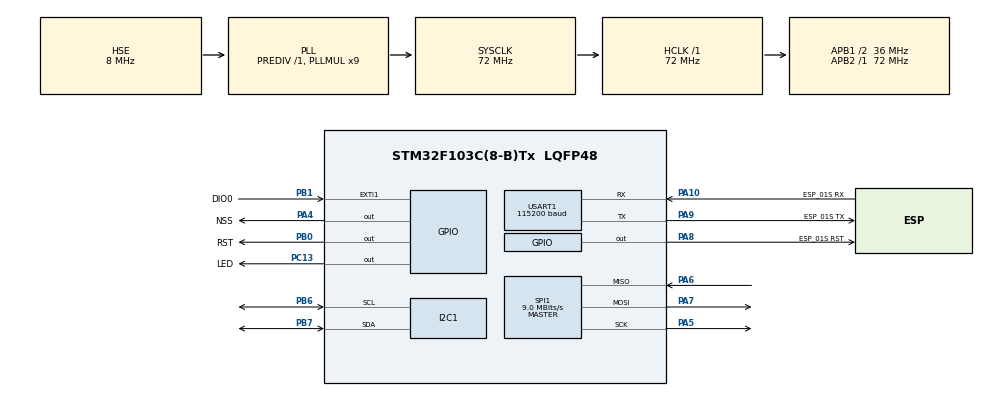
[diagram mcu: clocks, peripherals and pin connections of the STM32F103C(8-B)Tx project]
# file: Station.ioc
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Mcu.Family=STM32F1
Mcu.Name=STM32F103C(8-B)Tx
Mcu.Package=LQFP48
NVIC.EXTI1_IRQn=true\:0\:0\:false\:false\:true\:true\:true\:true
NVIC.PriorityGroup=NVIC_PRIORITYGROUP_4
PA10.GPIO_Label=ESP_01S RX
PA10.Mode=Asynchronous
PA10.Signal=USART1_RX
PA11.GPIO_Label=RTC_ALARM
PA11.Signal=USART1_CTS
PA13.Mode=Serial_Wire
PA13.Signal=SYS_JTMS-SWDIO
PA14.Mode=Serial_Wire
PA14.Signal=SYS_JTCK-SWCLK
PA4.GPIO_Label=NSS
PA4.PinState=GPIO_PIN_SET
PA4.Signal=GPIO_Output
PA5.Mode=Full_Duplex_Master
PA5.Signal=SPI1_SCK
PA6.Mode=Full_Duplex_Master
PA6.Signal=SPI1_MISO
PA7.Mode=Full_Duplex_Master
PA7.Signal=SPI1_MOSI
PA8.GPIO_Label=ESP_01S RST
PA8.PinState=GPIO_PIN_SET
PA8.Signal=GPIO_Output
PA9.GPIO_Label=ESP_01S TX
PA9.Mode=Asynchronous
PA9.Signal=USART1_TX
PB0.GPIO_Label=RST
PB0.PinState=GPIO_PIN_SET
PB0.Signal=GPIO_Output
PB1.GPIO_Label=DIO0
PB1.Signal=GPXTI1
PB6.Mode=I2C
PB6.Signal=I2C1_SCL
PB7.Mode=I2C
PB7.Signal=I2C1_SDA
PC13-TAMPER-RTC.GPIO_Label=LED
PC13-TAMPER-RTC.Signal=GPIO_Output
PD0-OSC_IN.Mode=HSE-External-Oscillator
PD0-OSC_IN.Signal=RCC_OSC_IN
PD1-OSC_OUT.Mode=HSE-External-Oscillator
PD1-OSC_OUT.Signal=RCC_OSC_OUT
ProjectManager.HeapSize=0x200
ProjectManager.StackSize=0x400
ProjectManager.TargetToolchain=STM32CubeIDE
RCC.AHBFreq_Value=72000000
RCC.APB1CLKDivider=RCC_HCLK_DIV2
RCC.APB1Freq_Value=36000000
RCC.APB1TimFreq_Value=72000000
RCC.APB2Freq_Value=72000000
RCC.APB2TimFreq_Value=72000000
RCC.HCLKFreq_Value=72000000
RCC.PLLMUL=RCC_PLL_MUL9
RCC.PLLSourceVirtual=RCC_PLLSOURCE_HSE
RCC.SYSCLKFreq_VALUE=72000000
RCC.SYSCLKSource=RCC_SYSCLKSOURCE_PLLCLK
RCC.USBFreq_Value=72000000
SPI1.BaudRatePrescaler=SPI_BAUDRATEPRESCALER_8
SPI1.CalculateBaudRate=9.0 MBits/s
SPI1.Direction=SPI_DIRECTION_2LINES
SPI1.Mode=SPI_MODE_MASTER
SPI1.VirtualType=VM_MASTER
USART1.BaudRate=115200
USART1.VirtualMode=VM_ASYNC
board=custom

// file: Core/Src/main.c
/* USER CODE BEGIN Header */
/**
  ******************************************************************************
  * @file           : main.c
  * @brief          : Main station of weather station setup
  ******************************************************************************
  * @attention
  *
  * Copyright (c) 2024 STMicroelectronics.
  * All rights reserved.
  *
  * This software is licensed under terms that can be found in the LICENSE file
  * in the root directory of this software component.
  * If no LICENSE file comes with this software, it is provided AS-IS.
  *
  ******************************************************************************
  */
/* USER CODE END Header */
#include "main.h"
#include "i2c.h"
#include "spi.h"
#include "usart.h"
#include "gpio.h"

/* USER CODE BEGIN Includes */
#include <stdio.h>
#include <stdlib.h>
#include <string.h>
#include "SX1278.h"
#include "esp01s.h"
#include "readings.h"

#include "BMP280_sak.h"
#include "AHT20.h"

/* USER CODE END Includes */

/* USER CODE BEGIN PV */

/*
 * ===== Flags =====
 */

// If flag is set run code involving LoRa
#define LORA
// If flag is set run code involving ESP
#define ESP

/*
 * ===== Sensors variables =====
 */

// float values read from sensors
float temperature = 0;
float humidity = 0;
float pressure = 0;

// Reading converted to int before sending
int sensor_id = -1;
int temperature_int = 0;
int humidity_int = 0;
int pressure_int = 0;

// Reading
Readings readings;

/*
 * 	===== LoRa variables =====
 */
SX1278_hw_t SX1278_hw;
SX1278_t SX1278;
int receiver;
int ret;

char LoRaTxBuffer[512];
char LoRaRxBuffer[512];

int tx_len;

int control_val=0;

/*
 *	====== ESP variables =======
 */
Esp01s Esp;
HAL_StatusTypeDef status;
/*
 * ====== Timeout variables =======
 	 	 1000 == 1 sec

	Sensor_1 - Main station
	Sensor_2 - First Sensor
	Sensor_3 - Second Sensor

	get_check = How often station checks from changes in delays from browser

*/
uint32_t current_time;				// current tick

uint32_t get_timeout = 60 * 1000;
uint32_t get_wake_up = 60 * 1000;

uint32_t sensor_1_timeout = 20 * 1000;
//uint32_t sensor_2_timeout = 20 * 1000;
uint32_t sensor_2_timeout = 10 * 1000;
uint32_t sensor_3_timeout = 20 * 1000;

uint32_t sensor_1_wakeup = 20 * 1000;
//uint32_t sensor_2_wakeup = 20 * 1000;
uint32_t sensor_2_wakeup = 10 * 1000;
uint32_t sensor_3_wakeup = 20 * 1000;

uint32_t inside_counter;

int reverse_time = 3;
int test_val = 0;
/* USER CODE END PV */

void SystemClock_Config(void);

/* USER CODE BEGIN 0 */

/*  ----------------------------------
 * 		LoRa Functions
 *  ----------------------------------
 */
void clearTx(){
	memset(LoRaTxBuffer,0,sizeof(LoRaTxBuffer));
}

void clearRx(){
	memset(LoRaRxBuffer,0,sizeof(LoRaRxBuffer));
}
// Puts LoRa module in receive mode
// -- LED should be off --
void LoRaSetRxMode(){
	clearRx();
	SX1278_LoRaEntryRx(&SX1278, 16, 2000);
	HAL_GPIO_WritePin(LED_GPIO_Port, LED_Pin, GPIO_PIN_RESET);
	receiver = 1;
	HAL_Delay(500);
}

// Puts LoRa module in transmit mode
// -- LED should be on --
void LoRaSetTxMode(){
	clearTx();
	SX1278_LoRaEntryTx(&SX1278, 16, 2000);
	HAL_GPIO_WritePin(LED_GPIO_Port, LED_Pin, GPIO_PIN_SET);
	receiver = 0;
	HAL_Delay(500);
}

void retrieve_onboard_sensor_data(){
	AHT20_Read(&temperature, &humidity);
	pressure = BMP280_ReadPressure(&hi2c1);

	sensor_id = 1;
	temperature_int = (int)temperature;
	humidity_int = (int)humidity;
	pressure_int = (int)pressure;

	#ifdef ESP
	  send_single_sensor_post_req(&Esp, temperature_int, humidity_int, pressure_int, sensor_id);
	#endif
	addData(&readings, sensor_id, temperature_int, humidity_int, pressure_int);
}

void retrieve_sensor_data(int sensorID){
	// Send info to sensor
	tx_len = sprintf(LoRaTxBuffer, "%d,%d",sensorID, reverse_time);
	ret = SX1278_LoRaEntryTx(&SX1278, tx_len, 2000);
	ret = SX1278_LoRaTxPacket(&SX1278, (uint8_t*) LoRaTxBuffer,
							tx_len, 2000);
	// Set RX mode, Read sensor data
	HAL_Delay(500);
	LoRaSetRxMode();

	// Calculate how long keep listening for anwser
	current_time = HAL_GetTick();
	inside_counter = current_time+(reverse_time*1000);

	// Listen for response
	while(HAL_GetTick()<=inside_counter){
		ret = SX1278_LoRaRxPacket(&SX1278);		// return gives length of received data
		if(ret > 0){
			SX1278_read(&SX1278, (uint8_t*) LoRaRxBuffer, ret); // read data send

			int s_id;
			sscanf(LoRaRxBuffer, "%d,%d,%d,%d", &s_id, &temperature_int, &humidity_int, &pressure_int);

			if(s_id == sensorID){
				sensor_id = s_id;
				addData(&readings, sensorID, temperature_int, humidity_int, pressure_int);
				#ifdef ESP
					send_single_sensor_post_req(&Esp, temperature_int, humidity_int, pressure_int, sensorID);
				#endif
			}
		}
		break;
	}
	LoRaSetTxMode();

}

/*  ----------------------------------
 * 		Esp Functions
 *  ----------------------------------
 */
void Esp_send_get(){
	send_get_req(&Esp);
	sensor_1_timeout = Esp.timers[0];
	sensor_2_timeout = Esp.timers[1];
	sensor_3_timeout = Esp.timers[2];
}

//while (GPIO_PIN_RESET == HAL_GPIO_ReadPin(LED_GPIO_Port, LED_Pin));
/* USER CODE END 0 */

int main(void)
{

  /* MCU Configuration--------------------------------------------------------*/

  /* Reset of all peripherals, Initializes the Flash interface and the Systick. */
  HAL_Init();

  /* Configure the system clock */
  SystemClock_Config();

  /* Initialize all configured peripherals */
  MX_GPIO_Init();
  MX_SPI1_Init();
  MX_USART1_UART_Init();
  MX_I2C1_Init();
  /* USER CODE BEGIN 2 */
  /*	=====================
   * 		  	LoRa Init
   * 	=====================
   */
  #ifdef LORA
	  receiver = 1;

      SX1278_hw.dio0.port = DIO0_GPIO_Port;
	  SX1278_hw.dio0.pin = DIO0_Pin;
	  SX1278_hw.nss.port = NSS_GPIO_Port;
	  SX1278_hw.nss.pin = NSS_Pin;
	  SX1278_hw.reset.port = RST_GPIO_Port;
	  SX1278_hw.reset.pin = RST_Pin;
	  SX1278_hw.spi = &hspi1;

	  SX1278.hw = &SX1278_hw;

	  SX1278_init(&SX1278, 434000000, SX1278_POWER_17DBM, SX1278_LORA_SF_7,
			  SX1278_LORA_BW_125KHZ, SX1278_LORA_CR_4_5, SX1278_LORA_CRC_EN, 10);

	  LoRaSetTxMode();						// Set mode to TX

  #endif
  /*	=====================
	 * 		  Sensors Init
	 * 	=====================
	 */
  // SAK
  BMP280_Init(&hi2c1);

  // Storing readings
  readings = newR();

  /*	=====================
   * 		  	ESP Init
   * 	=====================
   */

  #ifdef ESP
	  Esp = newEsp01s(&huart1);				// Define new ESP typedef
	  esp_setup(&Esp);						// Run setup for ESP
	  start_connection(&Esp);				// Start connection with data sever
	  Esp_send_get();
  #endif

  /* USER CODE END 2 */

  /* Infinite loop */
  /* USER CODE BEGIN WHILE */
  while (1)
  {
	  // Read current time in milliseconds
	  current_time = HAL_GetTick();
	  // Sensor 1 wake up
	  if((sensor_1_wakeup<=current_time)){
		  sensor_1_wakeup = sensor_1_timeout + HAL_GetTick();
		  retrieve_onboard_sensor_data();
	  }

	  // Sensor 2 wake up
	  if((sensor_2_wakeup<=current_time)){
		  // Set wake up value for another data request
		  sensor_2_wakeup = sensor_2_timeout + HAL_GetTick();
		  retrieve_sensor_data(2);
	  }

	  // Sensor 3 wake up
	  if((sensor_3_wakeup<=current_time)){
		  // Set wake up value for another data request
		  sensor_3_wakeup = sensor_3_timeout + HAL_GetTick();
		  retrieve_sensor_data(3);
	  }

	  // In set timeout check for change in reading timeouts
	  #ifdef ESP
		  if((get_wake_up<=current_time)){
			  get_wake_up = get_timeout+HAL_GetTick();
			  Esp_send_get();
		  }
	  #endif

    /* USER CODE END WHILE */

  }
}

void SystemClock_Config(void)
{
  RCC_OscInitTypeDef RCC_OscInitStruct = {0};
  RCC_ClkInitTypeDef RCC_ClkInitStruct = {0};

  /** Initializes the RCC Oscillators according to the specified parameters
  * in the RCC_OscInitTypeDef structure.
  */
  RCC_OscInitStruct.OscillatorType = RCC_OSCILLATORTYPE_HSE;
  RCC_OscInitStruct.HSEState = RCC_HSE_ON;
  RCC_OscInitStruct.HSEPredivValue = RCC_HSE_PREDIV_DIV1;
  RCC_OscInitStruct.HSIState = RCC_HSI_ON;
  RCC_OscInitStruct.PLL.PLLState = RCC_PLL_ON;
  RCC_OscInitStruct.PLL.PLLSource = RCC_PLLSOURCE_HSE;
  RCC_OscInitStruct.PLL.PLLMUL = RCC_PLL_MUL9;
  if (HAL_RCC_OscConfig(&RCC_OscInitStruct) != HAL_OK)
  {
    Error_Handler();
  }

  /** Initializes the CPU, AHB and APB buses clocks
  */
  RCC_ClkInitStruct.ClockType = RCC_CLOCKTYPE_HCLK|RCC_CLOCKTYPE_SYSCLK
                              |RCC_CLOCKTYPE_PCLK1|RCC_CLOCKTYPE_PCLK2;
  RCC_ClkInitStruct.SYSCLKSource = RCC_SYSCLKSOURCE_PLLCLK;
  RCC_ClkInitStruct.AHBCLKDivider = RCC_SYSCLK_DIV1;
  RCC_ClkInitStruct.APB1CLKDivider = RCC_HCLK_DIV2;
  RCC_ClkInitStruct.APB2CLKDivider = RCC_HCLK_DIV1;

  if (HAL_RCC_ClockConfig(&RCC_ClkInitStruct, FLASH_LATENCY_2) != HAL_OK)
  {
    Error_Handler();
  }
}

void Error_Handler(void)
{
  __disable_irq();
  while (1)
  {
  }
}

//
// WHOLE SENSOR 2 FUNCTION
//

// Sensor 2 wake up
//	  if((sensor_2_wakeup<=current_time)){
//
//		  // Set wake up value for another data request
//		  sensor_2_wakeup = sensor_2_timeout + HAL_GetTick();
//
//		  retrieve_sensor_data(2);
////		  // Send info to sensor_1
////		  tx_len = sprintf(LoRaTxBuffer, "%d,%d",2, reverse_time);
////		  ret = SX1278_LoRaEntryTx(&SX1278, tx_len, 2000);
////		  ret = SX1278_LoRaTxPacket(&SX1278, (uint8_t*) LoRaTxBuffer,
////												tx_len, 2000);
////		  // Set RX mode, Read sensor data
////		  HAL_Delay(500);
////		  LoRaSetRxMode();
////
////		  // For 5 sec wait for value from sensor
////		  current_time = HAL_GetTick();
////		  inside_counter = current_time+(reverse_time*1000);
////
////
////		  test_val = 0;
////		  while(HAL_GetTick()<=inside_counter){
////			  test_val++;
////			  ret = SX1278_LoRaRxPacket(&SX1278);		// return gives length of received data
////			  if(ret > 0){
////				  SX1278_read(&SX1278, (uint8_t*) LoRaRxBuffer, ret); // read data send
//////				  char s_id[3];
//////				  int temp, humi, pres;
//////				  sscanf(LoRaRxBuffer, "%[^,],%d,%d,%d",
//////						  sensor_id, &temperature_int, &humidity_int, &pressure_int);
////
////				  sscanf(LoRaRxBuffer, "%d,%d,%d,%d",
////				  						  &sensor_id,
////										  &temperature_int,
////										  &humidity_int,
////										  &pressure_int);
////
//////				  sensor_id = 2;
//////				  temperature_int = temp;
//////				  humidity_int = humi;
//////				  pressure_int = pres;
////
////				  #ifdef ESP
////				  	  send_single_sensor_post_req(&Esp, temperature_int, humidity_int, pressure_int, 1);
////		  	      #endif
////
////				  control_val++;
////				  break;
////			  }
//////			  HAL_Delay(100);
////		  }
////		  LoRaSetTxMode();
////		  test_val = 0;
//
//	  }
//
